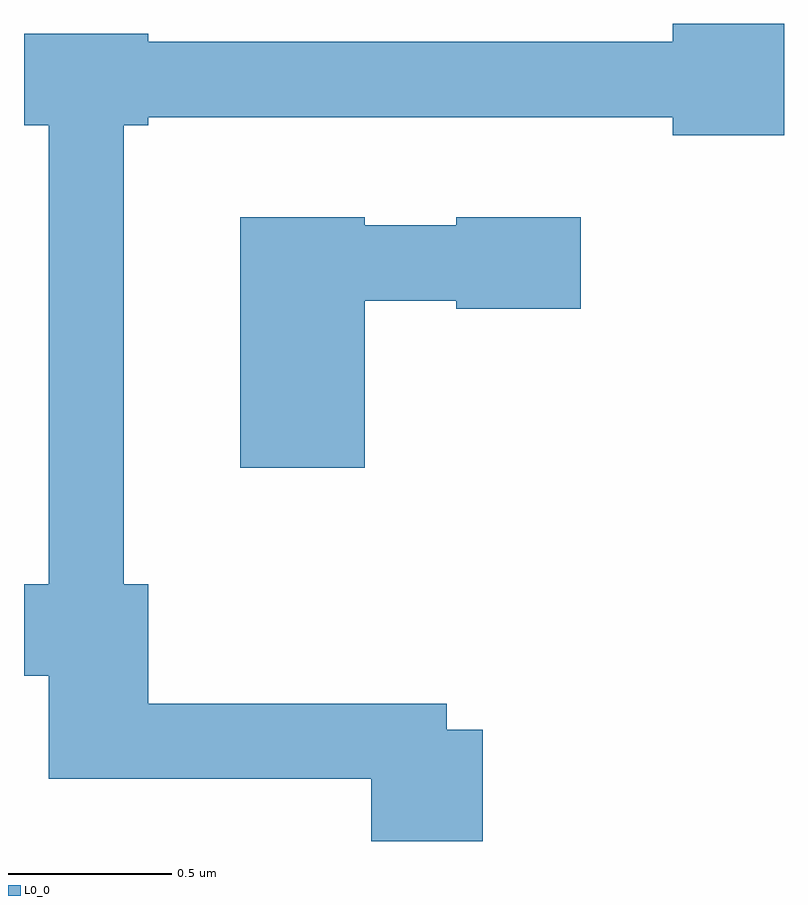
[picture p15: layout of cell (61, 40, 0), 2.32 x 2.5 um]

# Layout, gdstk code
import gdstk
lib = gdstk.Library(unit=1e-6, precision=1e-09)
def P(c, l, *ps):  # polygons
    for p in ps: c.add(gdstk.Polygon(p, *l))
L0_0 = (0, 0)

c__61__40__0_ = lib.new_cell('(61, 40, 0)')
P(c__61__40__0_, L0_0, [(980.24,994.42),(980.62,994.42),(980.62,994.14),(980.24,994.14),(980.24,994.42)],
  [(979.58,993.655),(979.58,994.42),(979.96,994.42),(979.96,993.655),(979.58,993.655)],
  [(979.77,994.395),(980.545,994.395),(980.545,994.165),(979.77,994.165),(979.77,994.395)],
  [(978.92,993.3),(979.3,993.3),(979.3,993.02),(978.92,993.02),(978.92,993.3)],
  [(981.24,994.67),(980.9,994.67),(980.9,994.725),(979.225,994.725),(979.225,993.045),(979.3,993.045),(979.3,992.935),(980.21,992.935),(980.21,992.855),(980.32,992.855),(980.32,992.515),(979.98,992.515),(979.98,992.705),(978.995,992.705),(978.995,994.955),(980.9,994.955),(980.9,995.01),(981.24,995.01),(981.24,994.67)],
  [(978.92,994.98),(979.3,994.98),(979.3,994.7),(978.92,994.7),(978.92,994.98)])

lib.write_gds('_61__40__0_.gds')
